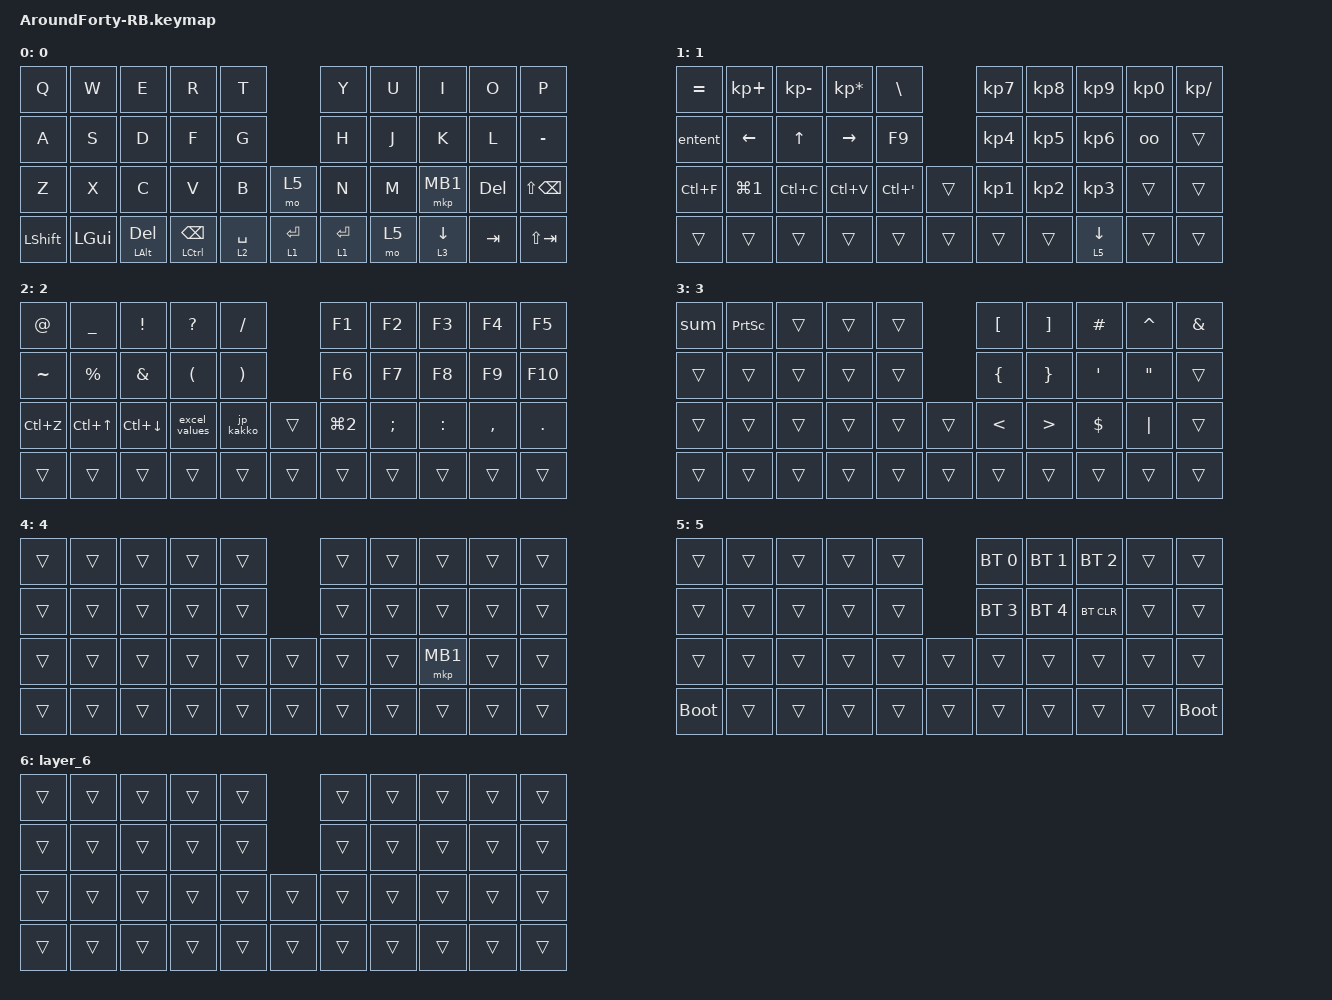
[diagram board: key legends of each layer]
#include <behaviors/rgbled_widget.dtsi>
#include <behaviors.dtsi>
#include <dt-bindings/zmk/bt.h>
#include <dt-bindings/zmk/keys.h>
#include <dt-bindings/zmk/pointing.h>


&mt {
    flavor = "balanced";
    tapping-term-ms = <150>;
    quick-tap-ms = <120>;
    require-prior-idle-ms = <350>;
};

/ {
    combos {
        compatible = "zmk,combos";

        Escape {
            bindings = <&kp ESCAPE>;
            key-positions = <0 1>;
        };

        RIGHT1 {
            bindings = <&kp RIGHT_ARROW>;
            key-positions = <17 8>;
        };

        BS {
            bindings = <&kp BACKSPACE>;
            key-positions = <16 7>;
        };



        CAPSS {
            bindings = <&kp CAPS>;
            key-positions = <13 14>;
        };

        MO1 {
            bindings = <&to 1>;
            key-positions = <5 6>;
            layers = <0>;
        };

        MO0 {
            bindings = <&to 0>;
            key-positions = <5 6>;
            layers = <1>;
        };

        BM1 {
            bindings = <&mb1_click>;
            key-positions = <17 18>;
            timeout-ms = <30>;
            require-prior-idle-ms = <100>;
        };

        BM2 {
            bindings = <&mkp MB2>;
            key-positions = <18 19>;
            timeout-ms = <30>;
            require-prior-idle-ms = <100>;
        };

        MO5 {
            timeout-ms = <50>;
            slow-release;
            key-positions = <8 9>;
            bindings = <&mo 5>;
        };

        DELLL {
            bindings = <&kt DEL>;
            key-positions = <9 18>;
        };
    };

    macros {
        to_layer_0: to_layer_0 {
            compatible = "zmk,behavior-macro-one-param";
            #binding-cells = <1>;
            bindings = <&to 0 &macro_param_1to1 &kp MACRO_PLACEHOLDER>;
            label = "TO_LAYER_0";
        };

        oo: OO {
            compatible = "zmk,behavior-macro";
            #binding-cells = <0>;
            bindings = <&kp NUMBER_0 &kp NUMBER_0>;
            label = "OO";
        };

        entent: ENTENT {
            compatible = "zmk,behavior-macro";
            #binding-cells = <0>;
            bindings = <&kp ENTER &kp ENTER &kp ENTER &kp ENTER &kp ENTER &kp ENTER &kp ENTER>;
            label = "ENTENT";
        };

        sum: sum {
            compatible = "zmk,behavior-macro";
            #binding-cells = <0>;
            bindings = <&kp LA(LC(S)) &kp U &kp M>;
            label = "SUM";
        };

        jp_kakko: jp_kakko {
            compatible = "zmk,behavior-macro";
            #binding-cells = <0>;
            bindings = <&kp K &kp A &kp K &kp K &kp O &kp SPACE>;
        };

        mb1_click: mb1_click {
            compatible = "zmk,behavior-macro";
            #binding-cells = <0>;
            bindings = <&mkp MB1>;
        };

        mb2_click: mb2_click {
            compatible = "zmk,behavior-macro";
            #binding-cells = <0>;
            bindings = <&mkp MB2>;
        };

        excel_values: excel_values {
            compatible = "zmk,behavior-macro";
            #binding-cells = <0>;
            bindings =
                <&macro_tap>,
                <&kp LALT>,
                <&macro_tap>,
                <&kp H>,
                <&macro_tap>,
                <&kp V>,
                <&macro_tap>,
                <&kp V>;
        };

        imetog: imetog {
            compatible = "zmk,behavior-macro";
            #binding-cells = <0>;
            bindings =
                <&macro_press>,
                <&kp LEFT_ALT>,
                <&macro_press>,
                <&kp GRAVE>,
                <&macro_release>,
                <&kp GRAVE &kp LEFT_ALT>;

            label = "NEW_MACRO";
        };
    };

    behaviors {
        lt_to_layer_0: lt_to_layer_0 {
            compatible = "zmk,behavior-hold-tap";
            label = "LAYER_TAP_TO_0";
            bindings = <&mo>, <&to_layer_0>;

            #binding-cells = <2>;
            tapping-term-ms = <200>;
        };

        // 

        scroll_up_down: behavior_sensor_rotate_mouse_wheel_up_down {
            compatible = "zmk,behavior-sensor-rotate";
            #sensor-binding-cells = <0>;
            bindings = <&msc SCRL_UP>, <&msc SCRL_DOWN>;

            tap-ms = <20>;
        };
    };

    keymap {
        compatible = "zmk,keymap";

        Default {
            display-name = "0";
            bindings = <
&kp Q      &kp W     &kp E             &kp R                       &kp T                     &kp Y        &kp U  &kp I       &kp O    &kp P
&kp A      &kp S     &kp D             &kp F                       &kp G                     &kp H        &kp J  &kp K       &kp L    &kp MINUS
&kp Z      &kp X     &kp C             &kp V                       &kp B        &mo 5        &kp N        &kp M  &mkp MB1    &kp DEL  &kp LS(BACKSPACE)
&kp LSHFT  &kp LGUI  &mt LEFT_ALT DEL  &mt LEFT_CONTROL BACKSPACE  &lt 2 SPACE  &lt 1 ENTER  &lt 1 ENTER  &mo 5  &lt 3 DOWN  &kp TAB  &kp LS(TAB)
            >;
        };

        NUM {
            display-name = "1";
            bindings = <
&kp EQUAL  &kp KP_PLUS  &kp KP_MINUS  &kp KP_MULTIPLY  &kp BACKSLASH                 &kp KP_NUMBER_7  &kp KP_NUMBER_8  &kp KP_NUMBER_9  &kp KP_NUMBER_0  &kp KP_SLASH
&entent    &kp LEFT     &kp UP        &kp RIGHT        &kp F9                        &kp KP_NUMBER_4  &kp KP_NUMBER_5  &kp KP_NUMBER_6  &oo              &trans
&kp LC(F)  &kp LG(N1)   &kp LC(C)     &kp LC(V)        &kp LC(SINGLE_QUOTE)  &trans  &kp KP_NUMBER_1  &kp KP_NUMBER_2  &kp KP_NUMBER_3  &trans           &trans
&trans     &trans       &trans        &trans           &trans                &trans  &trans           &trans           &lt 5 DOWN       &trans           &trans
            >;
        };

        FUNCTION {
            display-name = "2";
            bindings = <
&kp AT_SIGN  &kp UNDERSCORE  &kp EXCLAMATION  &kp QUESTION          &kp SLASH                      &kp F1      &kp F2         &kp F3     &kp F4     &kp F5
&kp TILDE    &kp PERCENT     &kp AMPERSAND    &kp LEFT_PARENTHESIS  &kp RIGHT_PARENTHESIS          &kp F6      &kp F7         &kp F8     &kp F9     &kp F10
&kp LC(Z)    &kp LC(UP)      &kp LC(DOWN)     &excel_values         &jp_kakko              &trans  &kp LG(N2)  &kp SEMICOLON  &kp COLON  &kp COMMA  &kp DOT
&trans       &trans          &trans           &trans                &trans                 &trans  &trans      &trans         &trans     &trans     &trans
            >;
        };

        ARROW {
            display-name = "3";
            bindings = <
&sum    &kp PRINTSCREEN  &trans  &trans  &trans          &kp LEFT_BRACKET  &kp RIGHT_BRACKET  &kp HASH          &kp CARET          &kp AMPERSAND
&trans  &trans           &trans  &trans  &trans          &kp LEFT_BRACE    &kp RIGHT_BRACE    &kp SINGLE_QUOTE  &kp DOUBLE_QUOTES  &trans
&trans  &trans           &trans  &trans  &trans  &trans  &kp LESS_THAN     &kp GREATER_THAN   &kp DOLLAR        &kp PIPE           &trans
&trans  &trans           &trans  &trans  &trans  &trans  &trans            &trans             &trans            &trans             &trans
            >;
        };

        MOUSE {
            display-name = "4";
            bindings = <
&trans  &trans  &trans  &trans  &trans          &trans  &trans  &trans    &trans  &trans
&trans  &trans  &trans  &trans  &trans          &trans  &trans  &trans    &trans  &trans
&trans  &trans  &trans  &trans  &trans  &trans  &trans  &trans  &mkp MB1  &trans  &trans
&trans  &trans  &trans  &trans  &trans  &trans  &trans  &trans  &trans    &trans  &trans
            >;
        };

        SCROLL {
            display-name = "5";
            bindings = <
&trans       &trans  &trans  &trans  &trans          &bt BT_SEL 0  &bt BT_SEL 1  &bt BT_SEL 2  &trans  &trans
&trans       &trans  &trans  &trans  &trans          &bt BT_SEL 3  &bt BT_SEL 4  &bt BT_CLR    &trans  &trans
&trans       &trans  &trans  &trans  &trans  &trans  &trans        &trans        &trans        &trans  &trans
&bootloader  &trans  &trans  &trans  &trans  &trans  &trans        &trans        &trans        &trans  &bootloader
            >;
        };

        layer_6 {
            bindings = <
&trans  &trans  &trans  &trans  &trans          &trans  &trans  &trans  &trans  &trans
&trans  &trans  &trans  &trans  &trans          &trans  &trans  &trans  &trans  &trans
&trans  &trans  &trans  &trans  &trans  &trans  &trans  &trans  &trans  &trans  &trans
&trans  &trans  &trans  &trans  &trans  &trans  &trans  &trans  &trans  &trans  &trans
            >;
        };
    };
};

#define ZMK_MOUSE_DEFAULT_MOVE_VAL 400
#define U_MOUSE_MOVE_EXPONENT 1
#define U_MOUSE_MOVE_TIME 600
#define U_MOUSE_MOVE_DELAY 0
#define ZMK_MOUSE_DEFAULT_SCRL_VAL 25
#define U_MOUSE_SCROLL_EXPONENT 1
#define U_MOUSE_SCROLL_TIME 1200
#define U_MOUSE_SCROLL_DELAY 0
#define U_MOUSE_SCROLL_DELAY 0
